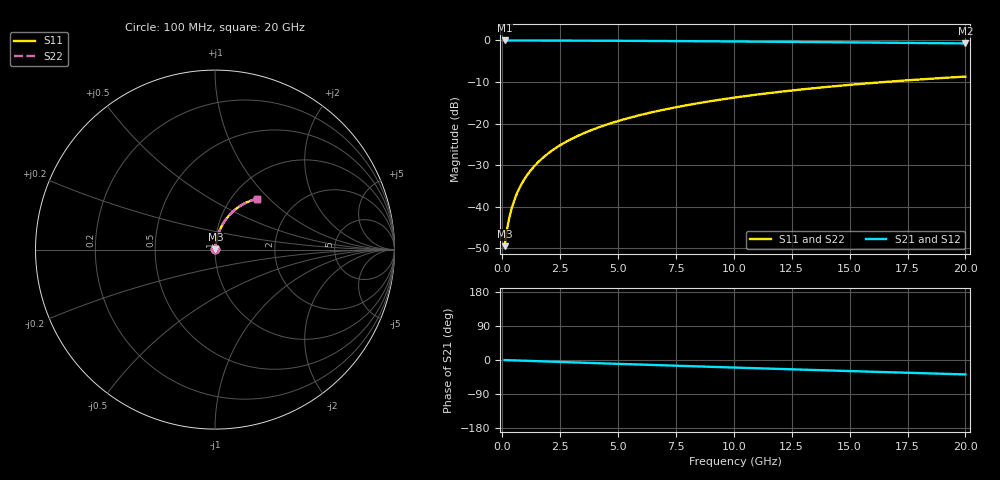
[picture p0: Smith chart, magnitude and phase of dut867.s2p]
! Touchstone file exported from HFSS 2026.1.0
!  File:  C:/ffzhzh/LocalFiles/Ansys_Project_Files/temp_train_TMRDL_867_1783157238_18472.aedt
!  Generated:  05:28:36 PM Jul  4, 2026
!  Design:  TMRDL
!  Project:  temp_train_TMRDL_867_1783157238_18472
! Variables:
!  h_bsmrdl = 2um
!  h_ox = 20um
!  h_rdl = 5um
!  h_sub = 80um
!  h_tmrdl = 5.18um
!  h_tsv = 80um
!  h_via = 3um
!  l_bsmrdl = 300um
!  l_sub = 948.83um
!  l_tmrdl = 548.83um
!  m_sub = 200um
!  pitch = 43.22um
!  r_tsv = 6um
!  s_tmrdl = 10um
!  w_bsmrdl = 18um
!  w_sub = 500um
!  w_tmrdl = 16.33um
!  x_tsv_center1 = 556.995um
!  x_tsv_center2 = 874.995um
!  x_tsv_center3 = 1440.155um
!  x_tsv_center4 = 1758.155um
!  x_tsv_center5 = 2323.315um
!  x_tsv_center6 = 2641.315um
# GHz S MA R 50.000000
! Terminal data exported
! Port[1] = TM_RDL1_1_T1
! Port[2] = TM_RDL1_1_T2
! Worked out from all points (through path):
!   200 points, 100 MHz to 20 GHz, reference 50 ohm
!   highest |S21| = -0.02 dB at 100 MHz (marker M1); lowest = -0.7 dB at 20 GHz (marker M2)
!   group delay of S21, straight-line fit = 5.28 ps
!   lowest |S11| = -49.5 dB at 100 MHz (marker M3), VSWR 1.01, Z = 50.2 + j0.235 ohm
!   |S11| at or under -10 dB: start of sweep to 16.52 GHz
!   |S22| runs from -49.5 to -8.7 dB; largest |S21 - S12| = 2.7e-15
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0.1  0.003365 44.1  0.9976 -0.2  0.9976 -0.2  0.003365 44.1
! Gamma 0 0 0 0
! Port Impedance 50 0 50 0
0.2  0.005271 61.2  0.9975 -0.4  0.9975 -0.4  0.005271 61.2
0.3  0.00734 68.6  0.9974 -0.6  0.9974 -0.6  0.00734 68.6
0.4  0.009453 72.7  0.9973 -0.8  0.9973 -0.8  0.009453 72.7
0.5  0.01159 75.3  0.9972 -1.0  0.9972 -1.0  0.01159 75.3
0.6  0.01374 77.1  0.9971 -1.3  0.9971 -1.3  0.01374 77.1
0.8  0.01807 79.2  0.997 -1.7  0.997 -1.7  0.01807 79.2
1.1  0.02461 80.7  0.9967 -2.3  0.9967 -2.3  0.02461 80.7
1.5  0.03333 81.4  0.9963 -3.1  0.9963 -3.1  0.03333 81.4
1.8  0.03986 81.4  0.9958 -3.7  0.9958 -3.7  0.03986 81.4
2.1  0.04635 81.3  0.9954 -4.3  0.9954 -4.3  0.04635 81.3
2.7  0.05925 80.6  0.9943 -5.6  0.9943 -5.6  0.05925 80.6
3.5  0.07622 79.4  0.9925 -7.2  0.9925 -7.2  0.07622 79.4
4.2  0.09084 78.2  0.9908 -8.6  0.9908 -8.6  0.09084 78.2
5  0.1073 76.8  0.9886 -10.2  0.9886 -10.2  0.1073 76.8
5.9  0.1256 75.2  0.9858 -12.0  0.9858 -12.0  0.1256 75.2
6.8  0.1435 73.5  0.9828 -13.7  0.9828 -13.7  0.1435 73.5
8.3  0.1727 70.8  0.9774 -16.7  0.9774 -16.7  0.1727 70.8
10.1  0.2067 67.6  0.9701 -20.1  0.9701 -20.1  0.2067 67.6
13.4  0.2654 61.7  0.9548 -26.3  0.9548 -26.3  0.2654 61.7
16.7  0.319 55.9  0.9376 -32.3  0.9376 -32.3  0.319 55.9
20  0.3673 50.3  0.9194 -38.1  0.9194 -38.1  0.3673 50.3
